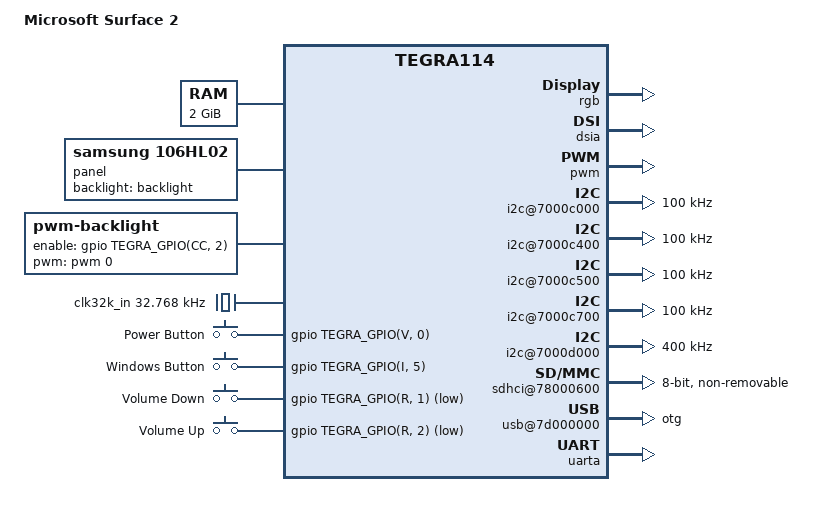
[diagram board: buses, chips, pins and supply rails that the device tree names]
/dts-v1/;

#include "tegra114.dtsi"

#include <dt-bindings/input/gpio-keys.h>
#include <dt-bindings/input/linux-event-codes.h>

/ {
	model = "Microsoft Surface 2";
	compatible = "microsoft,surface-2", "nvidia,tegra114";

	chosen {
		stdout-path = &uarta;
	};

	aliases {
		i2c0 = "/i2c@7000c000";
		i2c1 = "/i2c@7000c400";
		i2c2 = "/i2c@7000c500";
		i2c3 = "/i2c@7000c700";
		i2c4 = "/i2c@7000d000";
		mmc0 = "/sdhci@78000600";
		mmc1 = "/sdhci@78000400";
		usb0 = "/usb@7d000000";
	};

	memory {
		device_type = "memory";
		reg = <0x80000000 0x80000000>;
	};

	host1x@50000000 {
		dc@54200000 {
			clocks = <&tegra_car TEGRA114_CLK_DISP1>,
				 <&tegra_car TEGRA114_CLK_PLL_D_OUT0>;

			rgb {
				status = "okay";

				nvidia,panel = <&dsia>;
			};
		};

		dsia: dsi@54300000 {
			status = "okay";

			clocks = <&tegra_car TEGRA114_CLK_DSIA>;
			panel = <&panel>;
		};
	};

	panel: panel {
		compatible = "samsung,106hl02";
		//reset-gpios = <&gpio TEGRA_GPIO(K, 6) GPIO_ACTIVE_HIGH>;

		//power-supply = <&tps65090_fet4>;

		backlight = <&backlight>;
	};

	pwm: pwm@7000a000 {
		status = "okay";
	};

	backlight: backlight {
		compatible = "pwm-backlight";

		enable-gpios = <&gpio TEGRA_GPIO(CC, 2) GPIO_ACTIVE_HIGH>;
		pwms = <&pwm 0 1000000>;

		brightness-levels = <16 255>;
		default-brightness-level = <255>;
	};

	i2c@7000c000 {
		status = "okay";
		clock-frequency = <100000>;
	};

	i2c@7000c400 {
		status = "okay";
		clock-frequency = <100000>;
	};

	i2c@7000c500 {
		status = "okay";
		clock-frequency = <100000>;
	};

	i2c@7000c700 {
		status = "okay";
		clock-frequency = <100000>;
	};

	i2c@7000d000 {
		status = "okay";
		clock-frequency = <400000>;
	};

	sdhci@78000400 {
		cd-gpios = <&gpio TEGRA_GPIO(V, 2) GPIO_ACTIVE_LOW>;
		bus-width = <4>;
		status = "disabled";
	};

	sdhci@78000600 {
		status = "okay";
		bus-width = <8>;
		non-removable;
	};

	usb@7d000000 {
		status = "okay";
		dr_mode = "otg";
		//nvidia,vbus-gpio = <&gpio TEGRA_GPIO(N, 4) GPIO_ACTIVE_HIGH>;
	};


	clocks {
		compatible = "simple-bus";
		#address-cells = <1>;
		#size-cells = <0>;

		clk32k_in: clock@0 {
			compatible = "fixed-clock";
			reg=<0>;
			#clock-cells = <0>;
			clock-frequency = <32768>;
		};
	};
	
	gpio-keys {
		compatible = "gpio-keys";

		power {
			label = "Power Button";
			gpios = <&gpio TEGRA_GPIO(V, 0) GPIO_ACTIVE_HIGH>;
			linux,code = <KEY_ENTER>;
		};

		windows-button {
			label = "Windows Button";
			gpios = <&gpio TEGRA_GPIO(I, 5) GPIO_ACTIVE_HIGH>;
			linux,code = <KEY_ENTER>;
		};

		volume-down {
			label = "Volume Down";
			gpios = <&gpio TEGRA_GPIO(R, 1) GPIO_ACTIVE_LOW>;
			linux,code = <KEY_DOWN>;
		};

		volume-up {
			label = "Volume Up";
			gpios = <&gpio TEGRA_GPIO(R, 2) GPIO_ACTIVE_LOW>;
			linux,code = <KEY_UP>;
		};
	};
};

&uarta {
	status = "okay";
};
